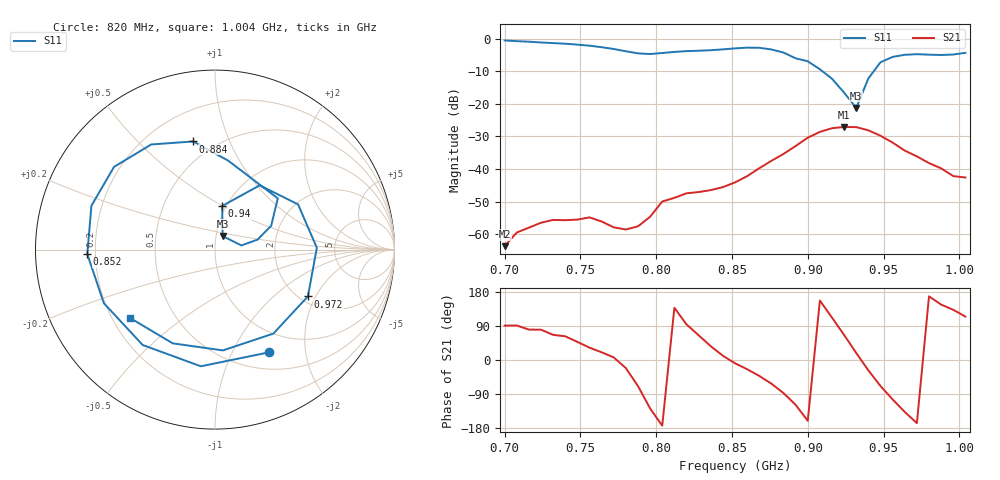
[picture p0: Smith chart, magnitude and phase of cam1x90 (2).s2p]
# Hz S RI R 50
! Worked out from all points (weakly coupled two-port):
!   39 points, 700 MHz to 1.004 GHz, reference 50 ohm
!   highest |S21| = -27.08 dB at 924 MHz (marker M1); lowest = -63.7 dB at 700 MHz (marker M2)
!   lowest |S11| = -21.2 dB at 932 MHz (marker M3), VSWR 1.19, Z = 53.8 + j8.2 ohm
!   |S11| at or under -10 dB: 909.7 MHz to 943.5 MHz (33.78 MHz wide, 3.65 % of centre)
!   S12 and S22 are empty: the file has one direction only
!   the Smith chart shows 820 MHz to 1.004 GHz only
!   S11 on the Smith chart (normalised r, x): 820 MHz: 0.71, -1.40; 852 MHz: 0.17, -0.02; 884 MHz: 0.38, +0.74; 940 MHz: 0.96, +0.50; 972 MHz: 2.21, -1.73; 1.004 GHz: 0.27, -0.33
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7e8  0.7617 0.5542  -8.37e-06 0.000654  0 0  0 0
7.24e8  0.8424 -0.2443  0.000259 0.00148  0 0  0 0
7.4e8  0.4591 -0.7031  0.000756 0.00146  0 0  0 0
7.56e8  -0.1903 -0.7593  0.00153 0.000973  0 0  0 0
7.72e8  -0.6655 -0.2047  0.00126 0.000151  0 0  0 0
7.8e8  -0.6046 0.2168  0.0011 -0.000431  0 0  0 0
7.96e8  0.2217 0.5388  -0.00114 -0.00146  0 0  0 0
8.04e8  0.5694 0.2026  -0.00315 -0.000367  0 0  0 0
8.2e8  0.2982 -0.5728  -0.000298 0.00423  0 0  0 0
8.36e8  -0.4029 -0.5314  0.00382 0.00282  0 0  0 0
8.52e8  -0.7115 -0.0252  0.00616 -0.000936  0 0  0 0
8.68e8  -0.5626 0.4609  0.00764 -0.00689  0 0  0 0
8.84e8  -0.1215 0.6026  0.000801 -0.017  0 0  0 0
9e8  0.3497 0.2854  -0.0285 -0.0101  0 0  0 0
9.08e8  0.313 0.1324  -0.0342 0.0147  0 0  0 0
9.24e8  0.147 0.0232  0.018 0.0404  0 0  0 0
9.32e8  0.0426 0.0757  0.0418 0.0139  0 0  0 0
9.4e8  0.0398 0.243  0.0349 -0.0181  0 0  0 0
9.56e8  0.4627 0.252  -0.00618 -0.0247  0 0  0 0
9.72e8  0.5176 -0.2607  -0.0152 -0.00363  0 0  0 0
9.88e8  0.0435 -0.5617  -0.00852 0.0057  0 0  0 0
1.004e9  -0.4745 -0.3802  -0.00309 0.00675  0 0  0 0
